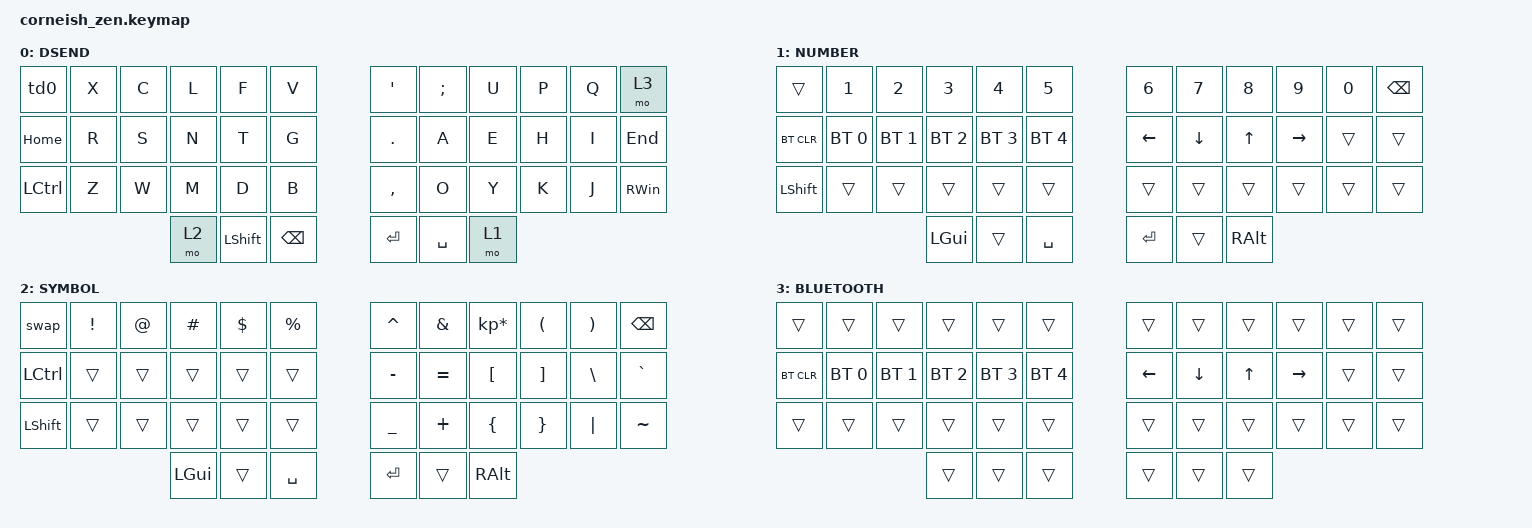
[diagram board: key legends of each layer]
#include <behaviors.dtsi>
#include <dt-bindings/zmk/keys.h>
#include <dt-bindings/zmk/bt.h>


/ {
  chosen {
    zmk,matrix_transform = &default_transform;
    //zmk,matrix_transform = &five_column_transform;
  };
};

/ {
        behaviors {
                td0: tap_dance_0 {
                        compatible = "zmk,behavior-tap-dance";
                        #binding-cells = <0>;
                        tapping-term-ms = <200>;
                        bindings = <&kp TAB>, <&kp ESC>;
                };

                swap: swapper {
                        compatible = "zmk,behavior-tri-state";
                        label = "SWAPPER";
                        #binding-cells = <0>;
                        bindings = <&kt LALT>, <&kp TAB>, <&kt LALT>;
                };
        };

        keymap {
                compatible = "zmk,keymap";

                default_layer {
                        label = "DSEND";
// -----------------------------------------------------------------------------------------
// |  TAB |  Q  |  W  |  E  |  R  |  T  |   |  Y  |  U   |  I  |  O  |  P  | BKSP |
// | CTRL |  A  |  S  |  D  |  F  |  G  |   |  H  |  J   |  K  |  L  |  ;  |  '   |
// | SHFT |  Z  |  X  |  C  |  V  |  B  |   |  N  |  M   |  ,  |  .  |  /  | ESC  |
//                    | GUI | LWR | SPC |   | ENT | RSE  | ALT |
                        bindings = <
   &td0   &kp X &kp C &kp L &kp F &kp V   &kp SQT   &kp SEMI  &kp U &kp P &kp Q &mo 3
   &kp HOME  &kp R &kp S &kp N &kp T &kp G   &kp DOT   &kp A     &kp E &kp H &kp I &kp END
   &kp LCTRL &kp Z &kp W &kp M &kp D &kp B   &kp COMMA &kp O     &kp Y &kp K &kp J &kp RWIN     
                  &mo 2 &kp LSHFT &kp BSPC   &kp ENTER &kp SPACE &mo 1
                        >;
                };

                lower_layer {
                        label = "NUMBER";
// -----------------------------------------------------------------------------------------
// |  TAB |  1  |  2  |  3  |  4  |  5  |   |  6  |  7  |  8  |  9  |  0  | BKSP |
// | BTCLR| BT1 | BT2 | BT3 | BT4 | BT5 |   | LFT | DWN |  UP | RGT |     |      |
// | SHFT |     |     |     |     |     |   |     |     |     |     |     |      |
//                    | GUI |     | SPC |   | ENT |     | ALT |
                        bindings = <
   &trans    &kp N1       &kp N2       &kp N3       &kp N4       &kp N5         &kp N6   &kp N7   &kp N8 &kp N9    &kp N0 &kp BSPC
   &bt BT_CLR &bt BT_SEL 0 &bt BT_SEL 1 &bt BT_SEL 2 &bt BT_SEL 3 &bt BT_SEL 4   &kp LEFT &kp DOWN &kp UP &kp RIGHT &trans &trans
   &kp LSHFT  &trans       &trans       &trans       &trans       &trans         &trans   &trans   &trans &trans    &trans &trans
                          	        &kp LGUI     &trans       &kp SPACE      &kp RET  &trans   &kp RALT
                        >;
                };

                raise_layer {
                        label = "SYMBOL";
// -----------------------------------------------------------------------------------------
// |  TAB |  !  |  @  |  #  |  $  |  %  |   |  ^  |  &  |  *  |  (  |  )  | BKSP |
// | CTRL |     |     |     |     |     |   |  -  |  =  |  [  |  ]  |  \  |  `   |
// | SHFT |     |     |     |     |     |   |  _  |  +  |  {  |  }  | "|" |  ~   |
//                    | GUI |     | SPC |   | ENT |     | ALT |
                        bindings = <
   &swap  &kp EXCL &kp AT &kp HASH &kp DLLR &kp PRCNT   &kp CARET &kp AMPS  &kp KP_MULTIPLY &kp LPAR &kp RPAR &kp BSPC
   &kp LCTRL &trans   &trans &trans   &trans   &trans      &kp MINUS &kp EQUAL &kp LBKT        &kp RBKT &kp BSLH &kp GRAVE
   &kp LSHFT &trans   &trans &trans   &trans   &trans      &kp UNDER &kp PLUS  &kp LBRC        &kp RBRC &kp PIPE &kp TILDE
                    	     &kp LGUI &trans   &kp SPACE   &kp RET   &trans    &kp RALT
                        >;
                };

                bluetooth_layer {
                        label = "BLUETOOTH";

                        bindings = <
   &trans &trans &trans &trans &trans &trans    &trans &trans &trans &trans &trans &trans
   &bt BT_CLR &bt BT_SEL 0 &bt BT_SEL 1 &bt BT_SEL 2 &bt BT_SEL 3 &bt BT_SEL 4   &kp LEFT &kp DOWN &kp UP &kp RIGHT &trans &trans
   &trans &trans &trans &trans &trans &trans    &trans &trans &trans &trans &trans &trans
                        &trans &trans &trans    &trans &trans &trans
                        >;
                };
        };
};


/ {
    macros {
        my_macro: my_macro {
            compatible = "zmk,behavior-macro";
            #binding-cells = <0>;
            bindings
                = <&macro_press &kp LSHFT>
                , <&macro_tap &kp Z &kp M &kp K &kp O>
                , <&macro_release &kp LSHFT>
                ;
        };
    };
};

